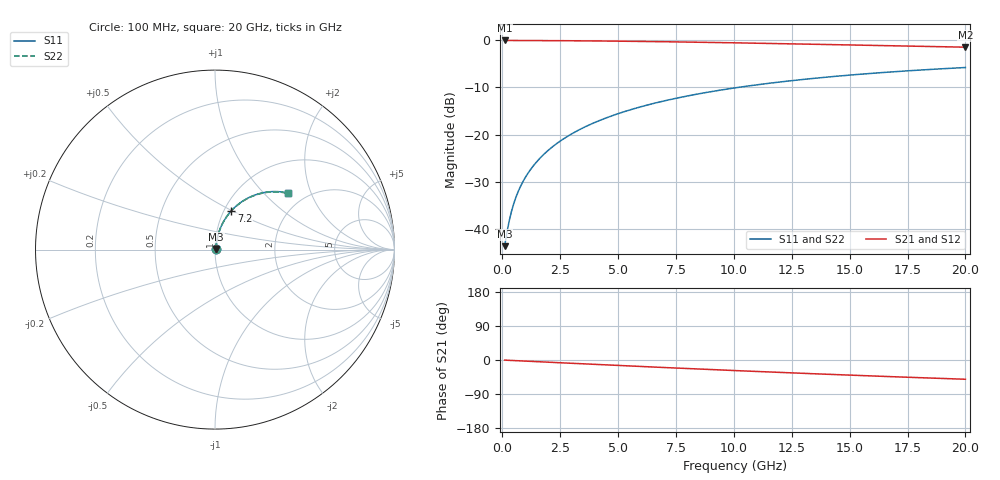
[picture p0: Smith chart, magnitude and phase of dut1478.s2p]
! Touchstone file exported from HFSS 2026.1.0
!  File:  C:/ffzhzh/LocalFiles/Ansys_Project_Files/temp_train_BSMRDL_1478_1783181226_51560.aedt
!  Generated:  12:08:19 AM Jul  5, 2026
!  Design:  BSMRDL
!  Project:  temp_train_BSMRDL_1478_1783181226_51560
! Variables:
!  h_bsmrdl = 3.02um
!  h_ox = 20um
!  h_rdl = 5um
!  h_sub = 80um
!  h_tmrdl = 5um
!  h_tsv = 80um
!  h_via = 3um
!  l_bsmrdl = 720.06um
!  l_sub = 1120.06um
!  l_tmrdl = 200um
!  m_sub = 200um
!  pitch = 47.83um
!  r_tsv = 6um
!  s_tmrdl = 10um
!  w_bsmrdl = 15.73um
!  w_sub = 500um
!  w_tmrdl = 12um
!  x_tsv_center1 = 206um
!  x_tsv_center2 = 941.79um
!  x_tsv_center3 = 1153.79um
!  x_tsv_center4 = 1889.58um
!  x_tsv_center5 = 2101.58um
!  x_tsv_center6 = 2837.37um
# GHz S MA R 50.000000
! Terminal data exported
! Port[1] = BSM_RDL1_1_T1
! Port[2] = BSM_RDL1_1_T2
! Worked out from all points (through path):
!   200 points, 100 MHz to 20 GHz, reference 50 ohm
!   highest |S21| = -0.05 dB at 100 MHz (marker M1); lowest = -1.5 dB at 20 GHz (marker M2)
!   group delay of S21, straight-line fit = 7.07 ps
!   lowest |S11| = -43.7 dB at 100 MHz (marker M3), VSWR 1.01, Z = 50.5 + j0.365 ohm
!   |S11| at or under -10 dB: start of sweep to 10.19 GHz
!   |S22| runs from -43.7 to -5.8 dB; largest |S21 - S12| = 3.7e-15
!   S11 on the Smith chart (normalised r, x): 100 MHz: 1.01, +0.01; 7.2 GHz: 1.08, +0.49; 20 GHz: 1.63, +1.39
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0.1  0.006553 33.4  0.9945 -0.3  0.9945 -0.3  0.006553 33.4
! Gamma 0 0 0 0
! Port Impedance 50 0 50 0
0.2  0.009122 51.9  0.9944 -0.6  0.9944 -0.6  0.009122 51.9
0.3  0.01219 61.3  0.9942 -0.9  0.9942 -0.9  0.01219 61.3
0.4  0.01543 66.5  0.994 -1.2  0.994 -1.2  0.01543 66.5
0.5  0.01871 69.8  0.9938 -1.5  0.9938 -1.5  0.01871 69.8
0.6  0.02201 72.1  0.9937 -1.8  0.9937 -1.8  0.02201 72.0
0.8  0.02862 74.8  0.9933 -2.4  0.9933 -2.4  0.02863 74.8
1.1  0.03858 77.0  0.9927 -3.2  0.9927 -3.2  0.03858 77.0
1.3  0.04524 77.7  0.9924 -3.8  0.9924 -3.8  0.04524 77.7
1.6  0.05524 78.3  0.9917 -4.7  0.9917 -4.7  0.05524 78.2
2.1  0.07192 78.3  0.9905 -6.1  0.9905 -6.1  0.07192 78.3
2.7  0.09186 77.7  0.9886 -7.8  0.9886 -7.8  0.09186 77.6
3.5  0.1182 76.2  0.9855 -10.1  0.9855 -10.1  0.1182 76.2
4.2  0.1409 74.7  0.9821 -12.1  0.9821 -12.1  0.1409 74.6
5  0.1664 72.8  0.9777 -14.4  0.9777 -14.4  0.1664 72.7
6.8  0.2217 68.3  0.9657 -19.3  0.9657 -19.3  0.2217 68.2
7.2  0.2335 67.3  0.9627 -20.4  0.9627 -20.4  0.2335 67.2
8.6  0.2735 63.8  0.9514 -24.1  0.9514 -24.1  0.2736 63.6
10.1  0.3139 60.0  0.9382 -28.0  0.9382 -28.0  0.3139 59.8
13.4  0.3931 52.1  0.9069 -36.2  0.9069 -36.2  0.3932 51.9
16.7  0.4595 44.7  0.8747 -43.8  0.8747 -43.8  0.4595 44.4
20  0.5138 37.9  0.8441 -50.8  0.8441 -50.8  0.5139 37.5
